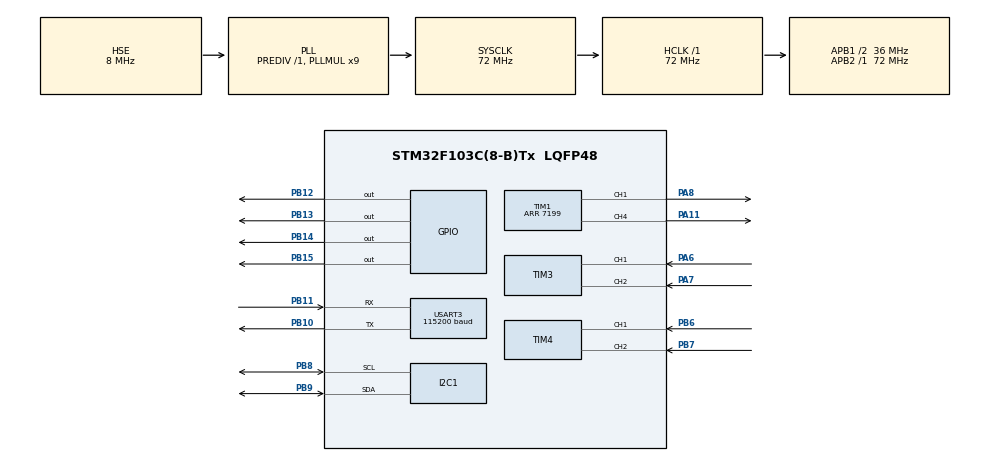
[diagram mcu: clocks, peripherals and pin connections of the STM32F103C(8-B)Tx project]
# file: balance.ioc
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I2C1.I2C_Mode=I2C_Fast
Mcu.Family=STM32F1
Mcu.Name=STM32F103C(8-B)Tx
Mcu.Package=LQFP48
NVIC.PriorityGroup=NVIC_PRIORITYGROUP_4
NVIC.TIM2_IRQn=true\:0\:0\:false\:false\:true\:true\:true\:true
PA11.Signal=S_TIM1_CH4
PA13.Mode=Serial_Wire
PA13.Signal=SYS_JTMS-SWDIO
PA14.Mode=Serial_Wire
PA14.Signal=SYS_JTCK-SWCLK
PA6.Signal=S_TIM3_CH1
PA7.Signal=S_TIM3_CH2
PA8.Signal=S_TIM1_CH1
PB10.Mode=Asynchronous
PB10.Signal=USART3_TX
PB11.Mode=Asynchronous
PB11.Signal=USART3_RX
PB12.Signal=GPIO_Output
PB13.Signal=GPIO_Output
PB14.Signal=GPIO_Output
PB15.Signal=GPIO_Output
PB6.Signal=S_TIM4_CH1
PB7.Signal=S_TIM4_CH2
PB8.Mode=I2C
PB8.Signal=I2C1_SCL
PB9.Mode=I2C
PB9.Signal=I2C1_SDA
PD0-OSC_IN.Mode=HSE-External-Oscillator
PD0-OSC_IN.Signal=RCC_OSC_IN
PD1-OSC_OUT.Mode=HSE-External-Oscillator
PD1-OSC_OUT.Signal=RCC_OSC_OUT
ProjectManager.HeapSize=0x200
ProjectManager.StackSize=0x400
ProjectManager.TargetToolchain=MDK-ARM V5.32
RCC.AHBFreq_Value=72000000
RCC.APB1CLKDivider=RCC_HCLK_DIV2
RCC.APB1Freq_Value=36000000
RCC.APB1TimFreq_Value=72000000
RCC.APB2Freq_Value=72000000
RCC.APB2TimFreq_Value=72000000
RCC.HCLKFreq_Value=72000000
RCC.PLLMUL=RCC_PLL_MUL9
RCC.PLLSourceVirtual=RCC_PLLSOURCE_HSE
RCC.SYSCLKFreq_VALUE=72000000
RCC.SYSCLKSource=RCC_SYSCLKSOURCE_PLLCLK
RCC.USBFreq_Value=72000000
SH.S_TIM1_CH1.0=TIM1_CH1,PWM Generation1 CH1
SH.S_TIM1_CH4.0=TIM1_CH4,PWM Generation4 CH4
SH.S_TIM3_CH1.0=TIM3_CH1,Encoder_Interface
SH.S_TIM3_CH2.0=TIM3_CH2,Encoder_Interface
SH.S_TIM4_CH1.0=TIM4_CH1,Encoder_Interface
SH.S_TIM4_CH2.0=TIM4_CH2,Encoder_Interface
TIM1.AutoReloadPreload=TIM_AUTORELOAD_PRELOAD_ENABLE
TIM1.Channel-PWM\ Generation1\ CH1=TIM_CHANNEL_1
TIM1.Channel-PWM\ Generation4\ CH4=TIM_CHANNEL_4
TIM1.Period=7199
TIM2.AutoReloadPreload=TIM_AUTORELOAD_PRELOAD_ENABLE
TIM2.Period=999
TIM2.Prescaler=71
TIM3.EncoderMode=TIM_ENCODERMODE_TI12
TIM4.EncoderMode=TIM_ENCODERMODE_TI12
USART3.BaudRate=115200
USART3.VirtualMode=VM_ASYNC
VP_TIM1_VS_ClockSourceINT.Mode=Internal
VP_TIM2_VS_ClockSourceINT.Mode=Internal
board=custom

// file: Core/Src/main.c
/* USER CODE BEGIN Header */
/**
  ******************************************************************************
  * @file           : main.c
  * @brief          : Main program body
  ******************************************************************************
  * @attention
  *
  * Copyright (c) 2026 STMicroelectronics.
  * All rights reserved.
  *
  * This software is licensed under terms that can be found in the LICENSE file
  * in the root directory of this software component.
  * If no LICENSE file comes with this software, it is provided AS-IS.
  *
  ******************************************************************************
  */
/* USER CODE END Header */
#include "main.h"
#include "i2c.h"
#include "tim.h"
#include "usart.h"
#include "gpio.h"

/* USER CODE BEGIN Includes */
#include "encoder.h"
#include "mpu6050.h"
#include "pid.h"
#include "motor.h"
#include "balance.h"
#include "mpu6050_calibration.h"
#include "mpu6050_startup.h"
#include "online_tune.h"
#include <float.h>
#include <stdio.h>
/* USER CODE END Includes */

/* USER CODE BEGIN PD */

/*
 * 闭环控制安全开关：
 * 0 = 只采集姿态并发送串口，不驱动电机
 * 1 = 执行 PID 并更新电机 PWM
 *
 * 默认取消在线调参；配置、校准和初始采样完成后自动执行闭环。
 * IMU故障或相对倾角严格超出正负45度后锁存停机，复位才可恢复。
 * 下载/复位前仍须架空并固定，上电校准后车轮可能立即转动。
 * 显式编译在线测试变体时，仍须ARM及持续心跳，不能把两种模式混用。
 */
#define BALANCE_CONTROL_ENABLE 1

/*
 * Phase 2 开环阶跃测试：
 * 0 = 电机保持停止，只发送扩展遥测帧
 * 1 = 执行单电机 PWM 阶跃序列
 *
 * 测试前必须确认车轮离地。PHASE2_TEST_MOTOR=0 测左电机，=1 测右电机。
 */
#define PHASE2_MOTOR_STEP_TEST 0
#define PHASE2_TEST_MOTOR      1
#define PHASE2_STEP_PWM        1000

/* 两种模式都会写电机，禁止同时启用，避免阶跃覆盖闭环输出。 */
#if BALANCE_CONTROL_ENABLE && PHASE2_MOTOR_STEP_TEST
#error "闭环控制与电机阶跃测试不能同时启用"
#endif

/* 时序诊断：打开后把控制 tick 和速度环序号加入遥测帧 */
#define TIMING_DIAGNOSTIC_ENABLE 1

/* IMU 诊断：主循环输出寄存器快照、校准和读取状态；验证后改回 0。 */
#define UART_BOOT_DIAGNOSTIC_ENABLE 1

#if ONLINE_TUNING_ENABLE && (!BALANCE_CONTROL_ENABLE || PHASE2_MOTOR_STEP_TEST || !TIMING_DIAGNOSTIC_ENABLE)
#error "在线调参需要闭环总开关1、阶跃0、61字节诊断开启"
#endif

#if TIMING_DIAGNOSTIC_ENABLE
#define TELEMETRY_TX_DIVIDER 5u
#else
#define TELEMETRY_TX_DIVIDER 3u
#endif

/* USER CODE END PD */

/* USER CODE BEGIN PV */
#if ONLINE_TUNING_ENABLE
static uint8_t g_tuning_rx_byte;
static volatile uint8_t g_tuning_rx_restart_pending;
#endif
/* USER CODE END PV */

void SystemClock_Config(void);

/* USER CODE BEGIN 0 */
typedef struct __attribute__((packed)) {
    uint8_t  header[2];     // 0xAA 0x55，帧同步头
    uint32_t timestamp_ms;  // 从启动开始的毫秒数
    int16_t  accel[3];      // 芯片原码，X/Y/Z，单位LSB
    int16_t  gyro[3]; 	// X, Y, Z

		int16_t  accel_filtered[3]; // 固定标定后低通，g乘16384编码
		int16_t  gyro_filtered[3];

		int16_t  pitch_x100;       // Pitch × 100
		int16_t  roll_x100;        // Roll × 100

		int16_t  pwm_left;
		int16_t  pwm_right;
		int32_t  encoder_left;
		int32_t  encoder_right;

#if TIMING_DIAGNOSTIC_ENABLE
		uint32_t control_tick_seq;
		uint32_t speed_loop_seq;
		int16_t  target_angle_x100;
		int16_t  current_speed_x100;
		int16_t  balance_output;
#endif

		uint8_t  checksum;      // 简单校验和
} DataFrame_t;

static volatile uint32_t g_tick_ms = 0;       // 中断计数器
static volatile uint8_t  g_frame_ready = 0;   // 数据就绪标志
static DataFrame_t       g_frame;             // 当前帧（ISR写，主循环读）
static volatile uint32_t g_control_tick_seq = 0;
/* 故障锁存后只保留轻量时序与遥测；排障并复位后才重新启动采样。 */
static volatile uint8_t g_imu_fault_latched = 1u;
#if !ONLINE_TUNING_ENABLE
/* 自动运行不等于倾倒后自动重启；复位是唯一解除途径。 */
static volatile uint8_t g_control_fault_latched = 0u;
#endif
static uint32_t g_uart_tx_errors = 0;
static uint8_t g_uart_last_error_status = HAL_OK;
static uint16_t g_uart_last_error_remaining = 0;

/* 主循环取走一份完整遥测帧；复制期间禁止中断，避免读到半帧数据 */
static uint8_t DataFrame_Take(DataFrame_t *out)
{
    uint8_t ready;

    __disable_irq();
    ready = g_frame_ready;
    if (ready)
    {
        *out = g_frame;
        g_frame_ready = 0;
    }
    __enable_irq();

    return ready;
}

/* Phase 2：累计编码器计数，供 PC 端计算轮速 */
static int32_t g_encoder_left_total = 0;
static int32_t g_encoder_right_total = 0;

static void Phase2_GetStepPwm(uint32_t timestamp_ms,
                              int16_t *pwm_left,
                              int16_t *pwm_right)
{
    *pwm_left = 0;
    *pwm_right = 0;

#if PHASE2_MOTOR_STEP_TEST
    int16_t pwm = 0;

    if (timestamp_ms >= 2000 && timestamp_ms < 5000)
        pwm = PHASE2_STEP_PWM;
    else if (timestamp_ms >= 7000 && timestamp_ms < 10000)
        pwm = -PHASE2_STEP_PWM;

#if PHASE2_TEST_MOTOR == 0
    *pwm_left = pwm;
#else
    *pwm_right = pwm;
#endif
#endif
}

/* 计算校验和：除header和checksum本身外所有字节累加取低8位 */
static uint8_t CalcChecksum(const DataFrame_t *f)
{
    uint8_t sum = 0;

    uint8_t *p = (uint8_t *)&f->timestamp_ms;

		for (int i = 0;
				 i < sizeof(f->timestamp_ms)
					 + sizeof(f->accel)
					 + sizeof(f->gyro)
					 + sizeof(f->accel_filtered)
					 + sizeof(f->gyro_filtered)
					 + sizeof(f->pitch_x100)
					 + sizeof(f->roll_x100)
					 + sizeof(f->pwm_left)
					 + sizeof(f->pwm_right)
					 + sizeof(f->encoder_left)
					 + sizeof(f->encoder_right)
#if TIMING_DIAGNOSTIC_ENABLE
					 + sizeof(f->control_tick_seq)
					 + sizeof(f->speed_loop_seq)
					 + sizeof(f->target_angle_x100)
					 + sizeof(f->current_speed_x100)
					 + sizeof(f->balance_output)
#endif
					 ;
				 i++)
    {
        sum += p[i];
    }

    return sum;
}

/* 比较同时拒绝NaN和正负无穷，避免依赖ARMCC的isfinite实现。 */
static uint8_t Control_FloatIsFinite(float value)
{
    return (uint8_t)(value >= -FLT_MAX && value <= FLT_MAX);
}

/* 遥测先验证再限幅，非法角填0并通过IMU故障状态标记。 */
static int16_t DataFrame_AngleX100(float value)
{
    if (!Control_FloatIsFinite(value)) return 0;
    if (value >= 327.67f) return 32767;
    if (value <= -327.68f) return -32768;
    return (int16_t)(value * 100.0f);
}

/* 保存发送失败现场，避免下次发送覆盖 HAL 的剩余字节数。 */
static void Uart_TransmitChecked(const uint8_t *data, uint16_t size, uint32_t timeout_ms)
{
    HAL_StatusTypeDef status = HAL_UART_Transmit(&huart3, data, size, timeout_ms);

    if (status != HAL_OK)
    {
        g_uart_tx_errors++;
        g_uart_last_error_status = (uint8_t)status;
        g_uart_last_error_remaining = huart3.TxXferCount;
    }
}

#if ONLINE_TUNING_ENABLE
/* 恢复接收只在主循环执行；中断内不等待、不解析命令、不发送回执。 */
static void Tuning_ServiceReception(void)
{
    uint32_t primask;
    if (!g_tuning_rx_restart_pending) return;
    if (HAL_UART_AbortReceive(&huart3) != HAL_OK) return;
    primask = __get_PRIMASK();
    __disable_irq();
    g_tuning_rx_restart_pending = 0u;
    if (HAL_UART_Receive_IT(&huart3, &g_tuning_rx_byte, 1u) != HAL_OK)
    {
        g_tuning_rx_restart_pending = 1u;
        OnlineTune_RxError();
    }
    __set_PRIMASK(primask);
}

void HAL_UART_RxCpltCallback(UART_HandleTypeDef *huart)
{
    if (huart->Instance != USART3) return;
    if (g_tuning_rx_restart_pending) return;
    OnlineTune_RxByte(g_tuning_rx_byte);
    if (HAL_UART_Receive_IT(huart, &g_tuning_rx_byte, 1u) != HAL_OK)
    {
        OnlineTune_RxError();
        g_tuning_rx_restart_pending = 1u;
    }
}

void HAL_UART_ErrorCallback(UART_HandleTypeDef *huart)
{
    if (huart->Instance != USART3) return;
    OnlineTune_RxError();
    g_tuning_rx_restart_pending = 1u;
}
#endif

#if UART_BOOT_DIAGNOSTIC_ENABLE
/* 元数据使用定点整数，避免依赖浮点 printf；转换仅在主循环执行。 */
static long Calibration_FixedPoint(float value, double units)
{
    double scaled = (double)value * units;
    return (long)(scaled + (scaled >= 0.0 ? 0.5 : -0.5));
}

static void Uart_SendAccelCalibration(void)
{
    const MPU6050_AccelCalibration_t *cal = &g_mpu6050_accel_calibration;
    char message[180];
    int length = snprintf(message, sizeof(message),
        "[ACAL] v=%lu bx=%ld by=%ld bz=%ld sx=%ld sy=%ld sz=%ld\r\n",
        (unsigned long)cal->version,
        Calibration_FixedPoint(cal->bias_lsb[0], 1000.0),
        Calibration_FixedPoint(cal->bias_lsb[1], 1000.0),
        Calibration_FixedPoint(cal->bias_lsb[2], 1000.0),
        Calibration_FixedPoint(cal->gain[0], 100000000.0),
        Calibration_FixedPoint(cal->gain[1], 100000000.0),
        Calibration_FixedPoint(cal->gain[2], 100000000.0));

    if (length > 0 && length < (int)sizeof(message))
        Uart_TransmitChecked((const uint8_t *)message, (uint16_t)length, 30);
}

static void Uart_SendImuStartup(void)
{
    MPU6050_StartupDiagnostics_t state = g_mpu6050_startup_diag;
    char message[200];
    int length = snprintf(message, sizeof(message),
        "[ISTART] v=1 tries=%u stage=%u werr=%lu wstatus=%u wreg=%02X wbus=%08lX verr=%lu vreg=%02X vval=%02X\r\n",
        (unsigned)state.attempts, (unsigned)state.stage,
        (unsigned long)state.write_errors, (unsigned)state.last_write_status,
        (unsigned)state.last_write_register, (unsigned long)state.last_write_error,
        (unsigned long)state.verify_errors, (unsigned)state.last_verify_register,
        (unsigned)state.last_verify_value);

    if (length > 0 && length < (int)sizeof(message))
        Uart_TransmitChecked((const uint8_t *)message, (uint16_t)length, 30);
}

static void Uart_SendImuDiagnostics(void)
{
    char message[240];
    int length = snprintf(message, sizeof(message),
        "[IMU] id=%02X acc=%02X gyr=%02X pwr=%02X cfg=%u cal=%u n=%u valid=%u status=%u err=%lu zero=%lu bus=%08lX fault=%u txerr=%lu txstatus=%u txleft=%u stop=%u\r\n",
        (unsigned)g_mpu6050_diag.who_am_i, (unsigned)g_mpu6050_diag.accel_config,
        (unsigned)g_mpu6050_diag.gyro_config, (unsigned)g_mpu6050_diag.pwr_mgmt_1,
        (unsigned)g_mpu6050_diag.config_valid, (unsigned)g_mpu6050_diag.calibration_valid,
        (unsigned)g_mpu6050_diag.calibration_samples, (unsigned)g_mpu6050_diag.sample_valid,
        (unsigned)g_mpu6050_diag.last_read_status, (unsigned long)g_mpu6050_diag.read_errors,
        (unsigned long)g_mpu6050_diag.zero_samples, (unsigned long)g_mpu6050_diag.last_i2c_error,
        (unsigned)g_imu_fault_latched, (unsigned long)g_uart_tx_errors,
        (unsigned)g_uart_last_error_status, (unsigned)g_uart_last_error_remaining,
#if ONLINE_TUNING_ENABLE
        0u);
#else
        (unsigned)g_control_fault_latched);
#endif

    if (length > 0 && length < (int)sizeof(message))
        Uart_TransmitChecked((const uint8_t *)message, (uint16_t)length, 30);
}
#endif

/* TIM2 1kHz中断服务函数 —— 方案A：每2次中断采集一次，有效500Hz */
void HAL_TIM_PeriodElapsedCallback(TIM_HandleTypeDef *htim)
{
    if (htim->Instance != TIM2) return;

		static uint8_t skip_counter = 0;
		static uint8_t tx_counter = 0;

    /* 每2次中断执行一次采集+发送 */
    if (++skip_counter >= 2)
    {
        skip_counter = 0;
        g_control_tick_seq++;

				int16_t ax = 0, ay = 0, az = 0;
				int16_t gx = 0, gy = 0, gz = 0;

				int16_t ax_f = 0, ay_f = 0, az_f = 0;
				int16_t gx_f = 0, gy_f = 0, gz_f = 0;
				int16_t pwm_left, pwm_right;
#if PHASE2_MOTOR_STEP_TEST || !BALANCE_CONTROL_ENABLE
				int16_t encoder_left_delta, encoder_right_delta;
#endif

				uint8_t imu_sample_valid = 0u;
        /* 首次读取失败后锁存，避免长 I2C 超时反复占用中断、饿死串口发送。 */
        if (!g_imu_fault_latched)
        {
            imu_sample_valid = MPU6050_ReadRawFiltered(
						&ax, &ay, &az,
						&gx, &gy, &gz,
						&ax_f, &ay_f, &az_f,
						&gx_f, &gy_f, &gz_f
				);
            if (!imu_sample_valid) g_imu_fault_latched = 1u;
        }
        if (g_imu_fault_latched) g_mpu6050_diag.sample_valid = 0u;
        if (imu_sample_valid) GET_Angle();

        /* 非有限值必须在PID、PWM及遥测整数编码前拒收；相减溢出也不例外。 */
        float pitch_reference = Control_GetPitchReferenceDeg();
        float relative_pitch = pitch - pitch_reference;
        if (!Control_FloatIsFinite(pitch) || !Control_FloatIsFinite(roll)
            || !Control_FloatIsFinite(pitch_reference) || !Control_FloatIsFinite(relative_pitch))
        {
            g_imu_fault_latched = 1u;
            g_mpu6050_diag.sample_valid = 0u;
            imu_sample_valid = 0u;
        }
#if !ONLINE_TUNING_ENABLE
        if (imu_sample_valid && (relative_pitch > 45.0f || relative_pitch < -45.0f))
            g_control_fault_latched = 1u;
#endif

#if ONLINE_TUNING_ENABLE
        OnlineTune_ControlTick(HAL_GetTick(), g_control_tick_seq,
            (uint8_t)(imu_sample_valid && !g_imu_fault_latched
                && g_mpu6050_diag.config_valid && g_mpu6050_diag.calibration_valid), pitch);
#endif

#if BALANCE_CONTROL_ENABLE
        /* 姿态已经在本采样周期更新，Control_Loop 不再重复调用 GET_Angle */
        if (imu_sample_valid && g_mpu6050_diag.config_valid && g_mpu6050_diag.calibration_valid
#if !ONLINE_TUNING_ENABLE
            && !g_control_fault_latched
#endif
            )
            Control_Loop();
        else
            motor_left_pwm = motor_right_pwm = 0;
#if ONLINE_TUNING_ENABLE
        /* 许可检查与GPIO/CCR提交必须原子，避免RX错误在二者之间抢占。
         * 只屏蔽这段有限寄存器操作，采样、计算、解析与发送都在外部。 */
        uint32_t motor_primask = __get_PRIMASK();
        __disable_irq();
        if (!OnlineTune_IsArmed()) motor_left_pwm = motor_right_pwm = 0;
        Motor_Update();
        __set_PRIMASK(motor_primask);
#else
        Motor_Update();
#endif
#elif TIMING_DIAGNOSTIC_ENABLE
        /* 闭环关闭时只运行时序计数，不计算或输出电机控制量 */
        Control_Timing_Diagnostic_Tick();
#endif

        /* 时间戳每帧增加2（因为实际采样间隔是2ms） */
        g_tick_ms += 2;

        /* Phase 2：输出开环 PWM，并累计编码器计数 */
#if PHASE2_MOTOR_STEP_TEST
        Phase2_GetStepPwm(g_tick_ms, &pwm_left, &pwm_right);
        Set_Pwm(pwm_left, pwm_right);

        /* 与电机物理侧保持一致：左电机对应 TIM4，右电机对应 TIM3 */
        encoder_left_delta = (int16_t)Read_Encoder_HAL(&htim4);
        encoder_right_delta = (int16_t)Read_Encoder_HAL(&htim3);
        g_encoder_left_total += encoder_left_delta;
        g_encoder_right_total += encoder_right_delta;
#else
        pwm_left = 0;
        pwm_right = 0;
#if !BALANCE_CONTROL_ENABLE
        /* 闭环关闭时仍读取编码器，保证零 PWM 遥测可以验证编码器链路 */
        encoder_left_delta = (int16_t)Read_Encoder_HAL(&htim4);
        encoder_right_delta = (int16_t)Read_Encoder_HAL(&htim3);
        g_encoder_left_total += encoder_left_delta;
        g_encoder_right_total += encoder_right_delta;
        Set_Pwm(0, 0);
#else
        /* 闭环开启时由 Control_Loop 读取编码器，避免同一 tick 重复清零 */
#endif
#endif

#if BALANCE_CONTROL_ENABLE
        /* 记录保护后的电机命令；驱动层仍会将绝对值小于100的命令归零。 */
        pwm_left = (int16_t)motor_left_pwm;
        pwm_right = (int16_t)motor_right_pwm;
#endif

        /* 读取失败或启动校验未完成时，禁止向驱动层施加任何测试/闭环输出。 */
        if (!imu_sample_valid || !g_mpu6050_diag.config_valid || !g_mpu6050_diag.calibration_valid
#if !ONLINE_TUNING_ENABLE
            || g_control_fault_latched
#endif
            )
        {
            pwm_left = pwm_right = 0;
            motor_left_pwm = motor_right_pwm = 0;
            Set_Pwm(0, 0);
        }

        /* 打包二进制帧 */
        g_frame.header[0] = 0xAA;
        g_frame.header[1] = 0x55;
        g_frame.timestamp_ms = g_tick_ms;
        g_frame.accel[0] = ax;
        g_frame.accel[1] = ay;
        g_frame.accel[2] = az;
        g_frame.gyro[0]  = gx;
        g_frame.gyro[1]  = gy;
        g_frame.gyro[2]  = gz;

				g_frame.accel_filtered[0] = ax_f;
				g_frame.accel_filtered[1] = ay_f;
				g_frame.accel_filtered[2] = az_f;

				g_frame.gyro_filtered[0] = gx_f;
				g_frame.gyro_filtered[1] = gy_f;
				g_frame.gyro_filtered[2] = gz_f;

				g_frame.pitch_x100 = DataFrame_AngleX100(pitch);
				g_frame.roll_x100  = DataFrame_AngleX100(roll);

				g_frame.pwm_left = pwm_left;
				g_frame.pwm_right = pwm_right;
				g_frame.encoder_left = g_encoder_left_total;
				g_frame.encoder_right = g_encoder_right_total;

#if TIMING_DIAGNOSTIC_ENABLE
				g_frame.control_tick_seq = g_control_tick_seq;
				g_frame.speed_loop_seq = g_speed_loop_seq;
				g_frame.target_angle_x100 = g_target_angle_x100;
				g_frame.current_speed_x100 = g_current_speed_x100;
				g_frame.balance_output = g_balance_output;
#endif

        g_frame.checksum = CalcChecksum(&g_frame);

					/* 默认 47 字节；打开当前诊断字段后为 61 字节 */
					if (++tx_counter >= TELEMETRY_TX_DIVIDER)
					{
							tx_counter = 0;
							g_frame_ready = 1;
					}
    }
}

/* USER CODE END 0 */

int main(void)
{

  /* MCU Configuration--------------------------------------------------------*/

  /* Reset of all peripherals, Initializes the Flash interface and the Systick. */
  HAL_Init();

  /* Configure the system clock */
  SystemClock_Config();

  /* Initialize all configured peripherals */
  MX_GPIO_Init();
  /* 临时诊断：先初始化 UART，隔离后续外设初始化是否卡死 */
  MX_USART3_UART_Init();
#if UART_BOOT_DIAGNOSTIC_ENABLE
  {
    static const uint8_t uart_ready_message[] = "UART_READY\r\n";
    Uart_TransmitChecked(uart_ready_message,
                      sizeof(uart_ready_message) - 1u,
                      100);
  }
#endif
  MX_TIM1_Init();
  MX_TIM4_Init();
  MX_TIM3_Init();
  MX_I2C1_Init();
  MX_TIM2_Init();
  /* USER CODE BEGIN 2 */
  /* HAL 阻塞 I2C 的超时依赖 SysTick；允许其抢占 TIM2，避免异常时超时停滞。 */
  HAL_NVIC_SetPriority(SysTick_IRQn, 0, 0);
  HAL_NVIC_SetPriority(TIM2_IRQn, 1, 0);
  MPU6050_Init();
	MPU6050_Filter_Init();
  Control_Init();
#if ONLINE_TUNING_ENABLE
  OnlineTune_Init();
  g_tuning_rx_restart_pending = 1u;
  Tuning_ServiceReception();
#endif
  /* 配置、校准和初始样本均成功才进入高速采样；启动失败不在 ISR 中重试。 */
  g_imu_fault_latched = !(g_mpu6050_diag.config_valid
      && g_mpu6050_diag.calibration_valid && g_mpu6050_diag.sample_valid);
  if (g_imu_fault_latched) g_mpu6050_diag.sample_valid = 0u;
  HAL_TIM_Base_Start_IT(&htim2);

  HAL_TIM_PWM_Start(&htim1, TIM_CHANNEL_1);
  HAL_TIM_PWM_Start(&htim1, TIM_CHANNEL_4);

  HAL_TIM_Encoder_Start(&htim3, TIM_CHANNEL_1);
  HAL_TIM_Encoder_Start(&htim3, TIM_CHANNEL_2);

  HAL_TIM_Encoder_Start(&htim4, TIM_CHANNEL_1);
  HAL_TIM_Encoder_Start(&htim4, TIM_CHANNEL_2);
  /* USER CODE END 2 */

  /* Infinite loop */
  while (1)
  {

    /* USER CODE BEGIN 3 */
#if ONLINE_TUNING_ENABLE
    {
        char reply[240];
        size_t reply_length;
        Tuning_ServiceReception();
        OnlineTune_Process();
        reply_length = OnlineTune_TakeReply(reply, sizeof(reply));
        if (reply_length)
            Uart_TransmitChecked((const uint8_t *)reply, (uint16_t)reply_length, 40u);
    }
#endif
#if UART_BOOT_DIAGNOSTIC_ENABLE
    {
        static uint32_t last_boot_ms = 0;
        uint32_t now_ms = HAL_GetTick();

        if ((uint32_t)(now_ms - last_boot_ms) >= 500u)
        {
            last_boot_ms = now_ms;
            Uart_SendImuDiagnostics();
            Uart_SendImuStartup();
            Uart_SendAccelCalibration();
        }
    }
#endif
//		Set_Pwm(1400,1400);
		 DataFrame_t frame_to_send;
		 if (DataFrame_Take(&frame_to_send))
    {
        /* 61 字节诊断帧在 115200 baud 下约需 5.3 ms，留出足够超时余量 */
        Uart_TransmitChecked((const uint8_t *)&frame_to_send, sizeof(frame_to_send), 20);
    }

    /* 主循环空闲，控制逻辑在 TIM2 中断中执行 */
  }
  /* USER CODE END 3 */
}

/*
  * @brief System Clock Configuration
  * @retval None
  */
void SystemClock_Config(void)
{
  RCC_OscInitTypeDef RCC_OscInitStruct = {0};
  RCC_ClkInitTypeDef RCC_ClkInitStruct = {0};

  RCC_OscInitStruct.OscillatorType = RCC_OSCILLATORTYPE_HSE;
  RCC_OscInitStruct.HSEState = RCC_HSE_ON;
  RCC_OscInitStruct.HSEPredivValue = RCC_HSE_PREDIV_DIV1;
  RCC_OscInitStruct.HSIState = RCC_HSI_ON;
  RCC_OscInitStruct.PLL.PLLState = RCC_PLL_ON;
  RCC_OscInitStruct.PLL.PLLSource = RCC_PLLSOURCE_HSE;
  RCC_OscInitStruct.PLL.PLLMUL = RCC_PLL_MUL9;
  if (HAL_RCC_OscConfig(&RCC_OscInitStruct) != HAL_OK)
  {
    Error_Handler();
  }

  RCC_ClkInitStruct.ClockType = RCC_CLOCKTYPE_HCLK | RCC_CLOCKTYPE_SYSCLK |
                                RCC_CLOCKTYPE_PCLK1 | RCC_CLOCKTYPE_PCLK2;
  RCC_ClkInitStruct.SYSCLKSource = RCC_SYSCLKSOURCE_PLLCLK;
  RCC_ClkInitStruct.AHBCLKDivider = RCC_SYSCLK_DIV1;
  RCC_ClkInitStruct.APB1CLKDivider = RCC_HCLK_DIV2;
  RCC_ClkInitStruct.APB2CLKDivider = RCC_HCLK_DIV1;

  if (HAL_RCC_ClockConfig(&RCC_ClkInitStruct, FLASH_LATENCY_2) != HAL_OK)
  {
    Error_Handler();
  }
}

/* USER CODE BEGIN 4 */

void Error_Handler(void)
{
  __disable_irq();
  while (1)
  {
  }
}
